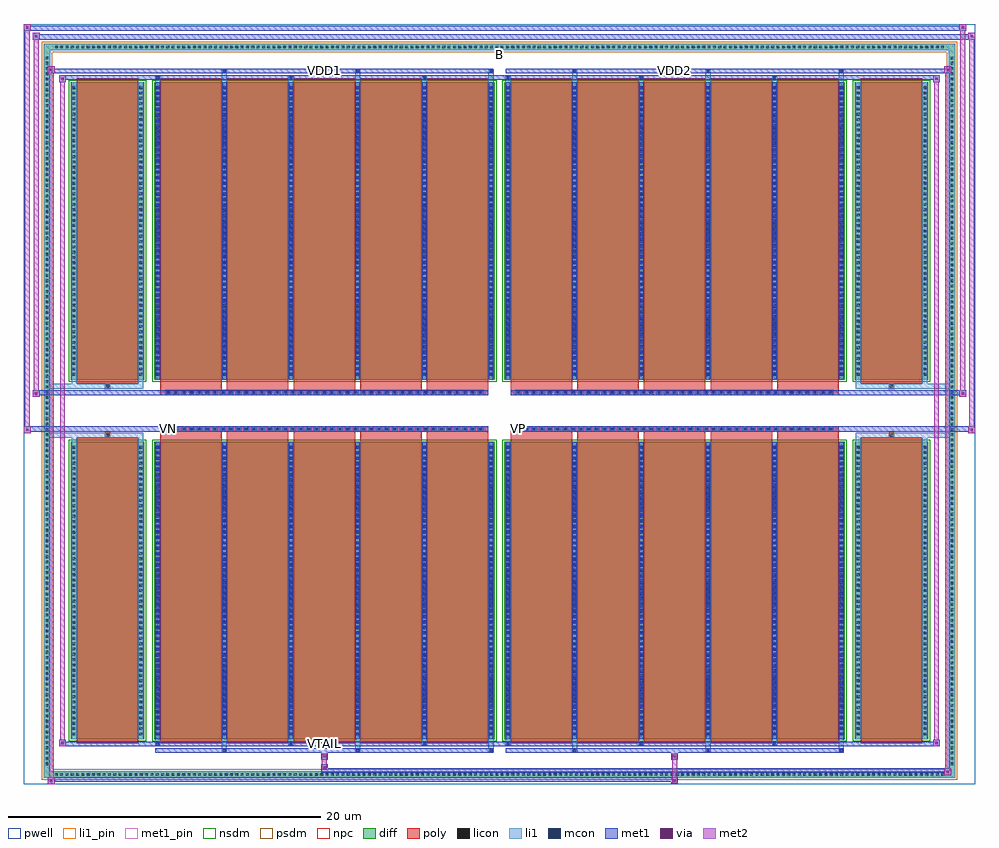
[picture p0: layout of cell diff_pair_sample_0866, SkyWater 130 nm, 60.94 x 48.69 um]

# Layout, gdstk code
import gdstk
lib = gdstk.Library(unit=1e-6, precision=5e-09)
def R(c, l, rs):  # rectangles x0, y0, x1, y1
    for r in rs: c.add(gdstk.rectangle(r[:2], r[2:], *l))
def A(c, l, x, y, w, h, nx, ny, dx, dy):  # array of equal rectangles
    R(c, l, [(x+i*dx, y+j*dy, x+i*dx+w, y+j*dy+h) for i in range(nx) for j in range(ny)])
def P(c, l, *ps):  # polygons
    for p in ps: c.add(gdstk.Polygon(p, *l))
pwell = (64, 44)
diff = (65, 20)
poly = (66, 20)
licon = (66, 44)
li1_pin = (67, 16)
li1 = (67, 20)
mcon = (67, 44)
met1_pin = (68, 16)
met1 = (68, 20)
via = (68, 44)
met2 = (69, 20)
nsdm = (93, 44)
psdm = (94, 20)
npc = (95, 20)

diff_pair_sample_0866 = lib.new_cell('diff_pair_sample_0866')
R(diff_pair_sample_0866, pwell, [(-30.47,-23.91,30.47,24.78), (-27.79,-22.1,-0.01,-0.8), (0.01,-22.1,27.79,-0.8), (-27.79,0.8,-0.01,22.1), (0.01,0.8,27.79,22.1)])
A(diff_pair_sample_0866, diff, -28.595, -23.51, 0.41, 0.41, 168, 2, 0.34, 46.61)
A(diff_pair_sample_0866, diff, -29.2, -22.815, 0.41, 0.41, 1, 134, 0, 0.34)
A(diff_pair_sample_0866, diff, 28.79, -22.815, 0.41, 0.41, 1, 134, 0, 0.34)
R(diff_pair_sample_0866, diff, [(-28.595,-23.51,28.595,-23.1), (-29.2,-22.815,-28.79,22.815), (28.79,-22.815,29.2,22.815), (-27.48,-21.055,-22.76,-1.985), (-22.12,-21.055,-0.32,-1.985), (0.32,-21.055,22.12,-1.985), (22.76,-21.055,27.48,-1.985), (-27.48,1.985,-22.76,21.055), (-22.12,1.985,-0.32,21.055), (0.32,1.985,22.12,21.055), (22.76,1.985,27.48,21.055), (-28.595,23.1,28.595,23.51)])
P(diff_pair_sample_0866, diff, [(29.2,23.51),(-29.2,23.51),(-29.2,-23.1),(-28.79,-23.1),(-28.79,23.1),(28.79,23.1),(28.79,-23.1),(-28.79,-23.1),(-29.2,-23.1),(-29.2,-23.51),(29.2,-23.51)])
A(diff_pair_sample_0866, poly, -21.73, -21.305, 3.94, 19.57, 5, 2, 4.27, 23.04)
A(diff_pair_sample_0866, poly, 0.71, -21.305, 3.94, 19.57, 5, 2, 4.27, 23.04)
A(diff_pair_sample_0866, poly, -21.73, -1.735, 3.94, 0.405, 5, 2, 4.27, 3.065)
A(diff_pair_sample_0866, poly, 0.71, -1.735, 3.94, 0.405, 5, 2, 4.27, 3.065)
A(diff_pair_sample_0866, poly, -21.385, -1.33, 0.33, 0.33, 41, 2, 0.5, 2.33)
A(diff_pair_sample_0866, poly, 1.055, -1.33, 0.33, 0.33, 41, 2, 0.5, 2.33)
R(diff_pair_sample_0866, poly, [(-27.09,-21.305,-23.15,-1.735), (23.15,-21.305,27.09,-1.735), (-25.285,-1.735,-24.955,-1.405), (-25.285,-1.735,-24.955,-1.405), (24.955,-1.735,25.285,-1.405), (24.955,-1.735,25.285,-1.405), (-21.73,-1.33,-0.71,-1), (0.71,-1.33,21.73,-1), (-21.73,1,-0.71,1.33), (0.71,1,21.73,1.33), (-25.285,1.405,-24.955,1.735), (-25.285,1.405,-24.955,1.735), (24.955,1.405,25.285,1.735), (24.955,1.405,25.285,1.735), (-27.09,1.735,-23.15,21.305), (23.15,1.735,27.09,21.305)])
A(diff_pair_sample_0866, licon, -28.475, -23.39, 0.17, 0.17, 168, 2, 0.34, 46.61)
A(diff_pair_sample_0866, licon, -29.08, -22.695, 0.17, 0.17, 1, 134, 0, 0.34)
A(diff_pair_sample_0866, licon, 28.91, -22.695, 0.17, 0.17, 1, 134, 0, 0.34)
A(diff_pair_sample_0866, licon, -27.34, -20.785, 0.17, 0.17, 1, 55, 0, 0.34)
A(diff_pair_sample_0866, licon, -23.07, -20.785, 0.17, 0.17, 1, 55, 0, 0.34)
A(diff_pair_sample_0866, licon, -21.98, -20.785, 0.17, 0.17, 6, 55, 4.27, 0.34)
A(diff_pair_sample_0866, licon, 0.46, -20.785, 0.17, 0.17, 6, 55, 4.27, 0.34)
A(diff_pair_sample_0866, licon, 22.9, -20.785, 0.17, 0.17, 1, 55, 0, 0.34)
A(diff_pair_sample_0866, licon, 27.17, -20.785, 0.17, 0.17, 1, 55, 0, 0.34)
A(diff_pair_sample_0866, licon, -21.305, -1.25, 0.17, 0.17, 41, 2, 0.5, 2.33)
A(diff_pair_sample_0866, licon, 1.135, -1.25, 0.17, 0.17, 41, 2, 0.5, 2.33)
A(diff_pair_sample_0866, licon, -27.34, 2.255, 0.17, 0.17, 1, 55, 0, 0.34)
A(diff_pair_sample_0866, licon, -23.07, 2.255, 0.17, 0.17, 1, 55, 0, 0.34)
A(diff_pair_sample_0866, licon, -21.98, 2.255, 0.17, 0.17, 6, 55, 4.27, 0.34)
A(diff_pair_sample_0866, licon, 0.46, 2.255, 0.17, 0.17, 6, 55, 4.27, 0.34)
A(diff_pair_sample_0866, licon, 22.9, 2.255, 0.17, 0.17, 1, 55, 0, 0.34)
A(diff_pair_sample_0866, licon, 27.17, 2.255, 0.17, 0.17, 1, 55, 0, 0.34)
R(diff_pair_sample_0866, licon, [(-25.205,-1.655,-25.035,-1.485), (25.035,-1.655,25.205,-1.485), (-25.205,1.485,-25.035,1.655), (25.035,1.485,25.205,1.655)])
R(diff_pair_sample_0866, li1_pin, [(-0.25,22.6,0.25,23.1)])
A(diff_pair_sample_0866, li1, -28.555, -23.47, 0.33, 0.33, 168, 2, 0.34, 46.61)
A(diff_pair_sample_0866, li1, -29.16, -22.775, 0.33, 0.33, 1, 134, 0, 0.34)
A(diff_pair_sample_0866, li1, 28.83, -22.775, 0.33, 0.33, 1, 134, 0, 0.34)
A(diff_pair_sample_0866, li1, -17.79, -21.86, 0.33, 0.805, 3, 2, 8.54, 42.915)
A(diff_pair_sample_0866, li1, -17.71, -21.86, 0.17, 0.17, 3, 2, 8.54, 43.55)
A(diff_pair_sample_0866, li1, 4.65, -21.86, 0.33, 0.805, 3, 2, 8.54, 42.915)
A(diff_pair_sample_0866, li1, 4.73, -21.86, 0.17, 0.17, 3, 2, 8.54, 43.55)
A(diff_pair_sample_0866, li1, -22.06, -21.43, 0.33, 0.375, 3, 2, 8.54, 42.485)
A(diff_pair_sample_0866, li1, -21.98, -21.43, 0.17, 0.17, 3, 2, 8.54, 42.69)
A(diff_pair_sample_0866, li1, 0.38, -21.43, 0.33, 0.375, 3, 2, 8.54, 42.485)
A(diff_pair_sample_0866, li1, 0.46, -21.43, 0.17, 0.17, 3, 2, 8.54, 42.69)
A(diff_pair_sample_0866, li1, -22.06, -21.055, 0.33, 19.07, 6, 2, 4.27, 23.04)
A(diff_pair_sample_0866, li1, 0.38, -21.055, 0.33, 19.07, 6, 2, 4.27, 23.04)
A(diff_pair_sample_0866, li1, -27.42, -20.865, 0.33, 0.33, 1, 55, 0, 0.34)
A(diff_pair_sample_0866, li1, -23.15, -20.865, 0.33, 0.33, 1, 55, 0, 0.34)
A(diff_pair_sample_0866, li1, -22.06, -20.865, 0.33, 0.33, 6, 55, 4.27, 0.34)
A(diff_pair_sample_0866, li1, 0.38, -20.865, 0.33, 0.33, 6, 55, 4.27, 0.34)
A(diff_pair_sample_0866, li1, 22.82, -20.865, 0.33, 0.33, 1, 55, 0, 0.34)
A(diff_pair_sample_0866, li1, 27.09, -20.865, 0.33, 0.33, 1, 55, 0, 0.34)
A(diff_pair_sample_0866, li1, -21.98, -20.785, 0.17, 0.17, 6, 52, 4.27, 0.36)
A(diff_pair_sample_0866, li1, -21.98, -20.785, 0.17, 18.53, 6, 2, 4.27, 23.04)
A(diff_pair_sample_0866, li1, 0.46, -20.785, 0.17, 0.17, 6, 52, 4.27, 0.36)
A(diff_pair_sample_0866, li1, 0.46, -20.785, 0.17, 18.53, 6, 2, 4.27, 23.04)
A(diff_pair_sample_0866, li1, -21.385, -1.33, 0.33, 0.33, 41, 2, 0.5, 2.33)
A(diff_pair_sample_0866, li1, 1.055, -1.33, 0.33, 0.33, 41, 2, 0.5, 2.33)
A(diff_pair_sample_0866, li1, -27.42, 2.175, 0.33, 0.33, 1, 55, 0, 0.34)
A(diff_pair_sample_0866, li1, -23.15, 2.175, 0.33, 0.33, 1, 55, 0, 0.34)
A(diff_pair_sample_0866, li1, -22.06, 2.175, 0.33, 0.33, 6, 55, 4.27, 0.34)
A(diff_pair_sample_0866, li1, 0.38, 2.175, 0.33, 0.33, 6, 55, 4.27, 0.34)
A(diff_pair_sample_0866, li1, 22.82, 2.175, 0.33, 0.33, 1, 55, 0, 0.34)
A(diff_pair_sample_0866, li1, 27.09, 2.175, 0.33, 0.33, 1, 55, 0, 0.34)
A(diff_pair_sample_0866, li1, -21.98, 2.255, 0.17, 0.17, 6, 52, 4.27, 0.36)
A(diff_pair_sample_0866, li1, 0.46, 2.255, 0.17, 0.17, 6, 52, 4.27, 0.36)
R(diff_pair_sample_0866, li1, [(-29.2,-23.51,-28.79,-23.1), (-29.2,-23.51,-28.79,-23.1), (-28.79,-23.51,28.79,-23.1), (28.79,-23.51,29.2,-23.1), (28.79,-23.51,29.2,-23.1), (-29.2,-23.1,-28.79,23.1), (28.79,-23.1,29.2,23.1), (-27.42,-21.055,-27.09,-1.985), (-23.15,-21.055,-22.82,-1.985), (22.82,-21.055,23.15,-1.985), (27.09,-21.055,27.42,-1.985), (-27.42,-1.985,-27.09,-1.405), (-23.15,-1.985,-22.82,-1.405), (22.82,-1.985,23.15,-1.405), (27.09,-1.985,27.42,-1.405), (-29.2,-1.735,-25.285,-1.405), (-27.42,-1.735,-25.285,-1.405), (-25.285,-1.735,-24.955,-1.405), (-24.955,-1.735,-22.82,-1.405), (22.82,-1.735,24.955,-1.405), (24.955,-1.735,25.285,-1.405), (24.955,-1.735,29.2,-1.405), (25.285,-1.735,27.42,-1.405), (-29.2,1.405,-25.285,1.735), (-27.42,1.405,-25.285,1.735), (-27.42,1.405,-27.09,1.985), (-25.285,1.405,-24.955,1.735), (-24.955,1.405,-22.82,1.735), (-23.15,1.405,-22.82,1.985), (22.82,1.405,24.955,1.735), (22.82,1.405,23.15,1.985), (24.955,1.405,25.285,1.735), (24.955,1.405,29.2,1.735), (25.285,1.405,27.42,1.735), (27.09,1.405,27.42,1.985), (-27.42,1.985,-27.09,21.055), (-23.15,1.985,-22.82,21.055), (22.82,1.985,23.15,21.055), (27.09,1.985,27.42,21.055), (-29.2,23.1,-28.79,23.51), (-29.2,23.1,-28.79,23.51), (-28.79,23.1,28.79,23.51), (28.79,23.1,29.2,23.51), (28.79,23.1,29.2,23.51)])
A(diff_pair_sample_0866, mcon, -17.71, -21.86, 0.17, 0.17, 3, 2, 8.54, 43.55)
A(diff_pair_sample_0866, mcon, 4.73, -21.86, 0.17, 0.17, 3, 2, 8.54, 43.55)
A(diff_pair_sample_0866, mcon, -21.98, -21.43, 0.17, 0.17, 3, 2, 8.54, 42.69)
A(diff_pair_sample_0866, mcon, 0.46, -21.43, 0.17, 0.17, 3, 2, 8.54, 42.69)
A(diff_pair_sample_0866, mcon, -21.98, -20.785, 0.17, 0.17, 6, 52, 4.27, 0.36)
A(diff_pair_sample_0866, mcon, 0.46, -20.785, 0.17, 0.17, 6, 52, 4.27, 0.36)
A(diff_pair_sample_0866, mcon, -21.305, -1.25, 0.17, 0.17, 41, 2, 0.5, 2.33)
A(diff_pair_sample_0866, mcon, 1.135, -1.25, 0.17, 0.17, 41, 2, 0.5, 2.33)
A(diff_pair_sample_0866, mcon, -21.98, 2.255, 0.17, 0.17, 6, 52, 4.27, 0.36)
A(diff_pair_sample_0866, mcon, 0.46, 2.255, 0.17, 0.17, 6, 52, 4.27, 0.36)
R(diff_pair_sample_0866, met1_pin, [(-11.355,-21.47,-11.085,-21.2), (-21.355,-1.29,-21.085,-1.02), (1.085,-1.29,1.355,-1.02), (-11.355,21.65,-11.085,21.92), (11.085,21.65,11.355,21.92)])
A(diff_pair_sample_0866, met1, -17.77, -21.92, 0.29, 0.29, 3, 2, 8.54, 43.55)
A(diff_pair_sample_0866, met1, 4.67, -21.92, 0.29, 0.29, 3, 2, 8.54, 43.55)
A(diff_pair_sample_0866, met1, -22.04, -21.49, 0.29, 0.29, 3, 2, 8.54, 42.69)
A(diff_pair_sample_0866, met1, 0.4, -21.49, 0.29, 0.29, 3, 2, 8.54, 42.69)
A(diff_pair_sample_0866, met1, -22.04, -21.055, 0.29, 19.07, 6, 2, 4.27, 23.04)
A(diff_pair_sample_0866, met1, 0.4, -21.055, 0.29, 19.07, 6, 2, 4.27, 23.04)
A(diff_pair_sample_0866, met1, -22.04, -20.845, 0.29, 0.29, 6, 52, 4.27, 0.36)
A(diff_pair_sample_0866, met1, 0.4, -20.845, 0.29, 0.29, 6, 52, 4.27, 0.36)
A(diff_pair_sample_0866, met1, -21.365, -1.31, 0.29, 0.29, 41, 2, 0.5, 2.33)
A(diff_pair_sample_0866, met1, 1.075, -1.31, 0.29, 0.29, 41, 2, 0.5, 2.33)
A(diff_pair_sample_0866, met1, -22.04, 2.195, 0.29, 0.29, 6, 52, 4.27, 0.36)
A(diff_pair_sample_0866, met1, 0.4, 2.195, 0.29, 0.29, 6, 52, 4.27, 0.36)
R(diff_pair_sample_0866, met1, [(-28.93,-23.91,-28.5,-23.48), (11.005,-23.91,11.435,-23.48), (-28.93,-23.77,11.435,-23.48), (28.5,-23.34,28.93,-22.91), (-11.435,-23.2,28.93,-22.91), (-11.435,-23.06,-11.005,-22.63), (-11.435,-22.35,-11.005,-21.92), (11.005,-22.35,11.435,-21.92), (-22.04,-21.92,-0.4,-21.63), (0.4,-21.92,22.04,-21.63), (-28.22,-21.49,-27.79,-21.06), (-28.22,-21.49,-22.04,-21.2), (-22.04,-21.49,-0.4,-21.2), (-0.4,-21.49,0.4,-21.2), (0.4,-21.49,22.04,-21.2), (22.04,-21.49,28.22,-21.2), (27.79,-21.49,28.22,-21.06), (-30.47,-1.43,-30.04,-1), (30.04,-1.43,30.47,-1), (-30.47,-1.33,-0.71,-1), (-21.73,-1.33,-0.71,-1), (0.71,-1.33,21.73,-1), (0.71,-1.33,30.47,-1), (-29.9,0.9,-29.47,1.33), (29.47,0.9,29.9,1.33), (-29.9,1,-21.73,1.33), (-21.73,1,-0.71,1.33), (0.71,1,21.73,1.33), (21.73,1,29.9,1.33), (-28.22,21.06,-27.79,21.49), (27.79,21.06,28.22,21.49), (-28.22,21.2,-22.04,21.49), (-22.04,21.2,-0.4,21.49), (-0.4,21.2,0.4,21.49), (0.4,21.2,22.04,21.49), (22.04,21.2,28.22,21.49), (-28.93,21.63,-28.5,22.06), (-28.93,21.63,-22.04,21.92), (-22.04,21.63,-0.4,21.92), (0.4,21.63,22.04,21.92), (22.04,21.63,28.93,21.92), (28.5,21.63,28.93,22.06), (-29.9,23.78,-29.47,24.21), (-29.9,23.78,-27.79,24.11), (-27.79,23.78,27.79,24.11), (27.79,23.78,30.47,24.11), (30.04,23.78,30.47,24.21), (-30.47,24.35,-30.04,24.78), (-30.47,24.35,-27.79,24.68), (-27.79,24.35,27.79,24.68), (27.79,24.35,29.9,24.68), (29.47,24.35,29.9,24.78)])
R(diff_pair_sample_0866, via, [(-28.79,-23.77,-28.64,-23.62), (11.145,-23.77,11.295,-23.62), (28.64,-23.2,28.79,-23.05), (-11.295,-22.92,-11.145,-22.77), (-11.295,-22.21,-11.145,-22.06), (11.145,-22.21,11.295,-22.06), (-28.08,-21.35,-27.93,-21.2), (27.93,-21.35,28.08,-21.2), (-30.33,-1.29,-30.18,-1.14), (30.18,-1.29,30.33,-1.14), (-29.76,1.04,-29.61,1.19), (29.61,1.04,29.76,1.19), (-28.08,21.2,-27.93,21.35), (27.93,21.2,28.08,21.35), (-28.79,21.77,-28.64,21.92), (28.64,21.77,28.79,21.92), (-29.76,23.92,-29.61,24.07), (30.18,23.92,30.33,24.07), (-30.33,24.49,-30.18,24.64), (29.61,24.49,29.76,24.64)])
R(diff_pair_sample_0866, met2, [(-28.93,-23.91,-28.5,-23.48), (-28.86,-23.91,-28.57,22.06), (-28.57,-23.91,-28.5,-23.48), (-28.88,-23.86,-28.55,-23.53), (11.055,-23.86,11.385,-23.53), (11.055,-23.53,11.385,-22.3), (28.5,-23.34,28.93,-22.91), (28.57,-23.34,28.86,22.06), (28.86,-23.34,28.93,-22.91), (28.55,-23.29,28.88,-22.96), (-11.385,-23.01,-11.055,-22.68), (-11.385,-22.68,-11.055,-22.3), (-11.385,-22.3,-11.055,-21.97), (11.055,-22.3,11.385,-21.97), (-28.22,-21.49,-27.79,-21.06), (-28.15,-21.49,-27.86,21.49), (-27.86,-21.49,-27.79,-21.06), (27.79,-21.49,28.22,-21.06), (27.86,-21.49,28.15,21.49), (28.15,-21.49,28.22,-21.06), (-28.17,-21.44,-27.84,-21.11), (27.84,-21.44,28.17,-21.11), (-30.47,-1.43,-30.04,-1), (-30.42,-1.43,-30.09,24.78), (-30.09,-1.43,-30.04,-1), (30.04,-1.43,30.47,-1), (30.09,-1.43,30.42,24.21), (30.42,-1.43,30.47,-1), (-30.42,-1.38,-30.09,-1.05), (30.09,-1.38,30.42,-1.05), (-29.9,0.9,-29.47,1.33), (-29.85,0.9,-29.52,24.21), (-29.52,0.9,-29.47,1.33), (29.47,0.9,29.9,1.33), (29.52,0.9,29.85,24.78), (29.85,0.9,29.9,1.33), (-29.85,0.95,-29.52,1.28), (29.52,0.95,29.85,1.28), (-28.22,21.06,-27.79,21.49), (-27.86,21.06,-27.79,21.49), (27.79,21.06,28.22,21.49), (28.15,21.06,28.22,21.49), (-28.17,21.11,-27.84,21.44), (27.84,21.11,28.17,21.44), (-28.93,21.63,-28.5,22.06), (-28.57,21.63,-28.5,22.06), (28.5,21.63,28.93,22.06), (28.86,21.63,28.93,22.06), (-28.88,21.68,-28.55,22.01), (28.55,21.68,28.88,22.01), (-29.9,23.78,-29.47,24.21), (-29.52,23.78,-29.47,24.21), (30.04,23.78,30.47,24.21), (30.42,23.78,30.47,24.21), (-29.85,23.83,-29.52,24.16), (30.09,23.83,30.42,24.16), (-30.47,24.35,-30.04,24.78), (-30.09,24.35,-30.04,24.78), (29.47,24.35,29.9,24.78), (29.85,24.35,29.9,24.78), (-30.42,24.4,-30.09,24.73), (29.52,24.4,29.85,24.73)])
R(diff_pair_sample_0866, nsdm, [(-27.61,-21.185,-22.63,-1.855), (-22.25,-21.185,-0.19,-1.855), (0.19,-21.185,22.25,-1.855), (22.63,-21.185,27.61,-1.855), (-27.61,1.855,-22.63,21.185), (-22.25,1.855,-0.19,21.185), (0.19,1.855,22.25,21.185), (22.63,1.855,27.61,21.185)])
P(diff_pair_sample_0866, psdm, [(29.33,23.64),(-29.33,23.64),(-29.33,-22.97),(-28.66,-22.97),(-28.66,22.97),(28.66,22.97),(28.66,-22.97),(-28.66,-22.97),(-29.33,-22.97),(-29.33,-23.64),(29.33,-23.64)])
A(diff_pair_sample_0866, npc, -21.405, -1.35, 0.37, 0.37, 41, 2, 0.5, 2.33)
A(diff_pair_sample_0866, npc, 1.035, -1.35, 0.37, 0.37, 41, 2, 0.5, 2.33)
R(diff_pair_sample_0866, npc, [(-25.305,-1.755,-24.935,-1.385), (24.935,-1.755,25.305,-1.385), (-21.405,-1.35,-20.535,-0.98), (-21.405,-1.35,-20.535,-0.98), (-20.905,-1.35,-20.035,-0.98), (-20.905,-1.35,-20.035,-0.98), (-20.405,-1.35,-19.535,-0.98), (-20.405,-1.35,-19.535,-0.98), (-19.905,-1.35,-19.035,-0.98), (-19.905,-1.35,-19.035,-0.98), (-19.405,-1.35,-18.535,-0.98), (-19.405,-1.35,-18.535,-0.98), (-18.905,-1.35,-18.035,-0.98), (-18.905,-1.35,-18.035,-0.98), (-18.405,-1.35,-17.535,-0.98), (-18.405,-1.35,-17.535,-0.98), (-17.905,-1.35,-17.035,-0.98), (-17.905,-1.35,-17.035,-0.98), (-17.405,-1.35,-16.535,-0.98), (-17.405,-1.35,-16.535,-0.98), (-16.905,-1.35,-16.035,-0.98), (-16.905,-1.35,-16.035,-0.98), (-16.405,-1.35,-15.535,-0.98), (-16.405,-1.35,-15.535,-0.98), (-15.905,-1.35,-15.035,-0.98), (-15.905,-1.35,-15.035,-0.98), (-15.405,-1.35,-14.535,-0.98), (-15.405,-1.35,-14.535,-0.98), (-14.905,-1.35,-14.035,-0.98), (-14.905,-1.35,-14.035,-0.98), (-14.405,-1.35,-13.535,-0.98), (-14.405,-1.35,-13.535,-0.98), (-13.905,-1.35,-13.035,-0.98), (-13.905,-1.35,-13.035,-0.98), (-13.405,-1.35,-12.535,-0.98), (-13.405,-1.35,-12.535,-0.98), (-12.905,-1.35,-12.035,-0.98), (-12.905,-1.35,-12.035,-0.98), (-12.405,-1.35,-11.535,-0.98), (-12.405,-1.35,-11.535,-0.98), (-11.905,-1.35,-11.035,-0.98), (-11.905,-1.35,-11.035,-0.98), (-11.405,-1.35,-10.535,-0.98), (-11.405,-1.35,-10.535,-0.98), (-10.905,-1.35,-10.035,-0.98), (-10.905,-1.35,-10.035,-0.98), (-10.405,-1.35,-9.535,-0.98), (-10.405,-1.35,-9.535,-0.98), (-9.905,-1.35,-9.035,-0.98), (-9.905,-1.35,-9.035,-0.98), (-9.405,-1.35,-8.535,-0.98), (-9.405,-1.35,-8.535,-0.98), (-8.905,-1.35,-8.035,-0.98), (-8.905,-1.35,-8.035,-0.98), (-8.405,-1.35,-7.535,-0.98), (-8.405,-1.35,-7.535,-0.98), (-7.905,-1.35,-7.035,-0.98), (-7.905,-1.35,-7.035,-0.98), (-7.405,-1.35,-6.535,-0.98), (-7.405,-1.35,-6.535,-0.98), (-6.905,-1.35,-6.035,-0.98), (-6.905,-1.35,-6.035,-0.98), (-6.405,-1.35,-5.535,-0.98), (-6.405,-1.35,-5.535,-0.98), (-5.905,-1.35,-5.035,-0.98), (-5.905,-1.35,-5.035,-0.98), (-5.405,-1.35,-4.535,-0.98), (-5.405,-1.35,-4.535,-0.98), (-4.905,-1.35,-4.035,-0.98), (-4.905,-1.35,-4.035,-0.98), (-4.405,-1.35,-3.535,-0.98), (-4.405,-1.35,-3.535,-0.98), (-3.905,-1.35,-3.035,-0.98), (-3.905,-1.35,-3.035,-0.98), (-3.405,-1.35,-2.535,-0.98), (-3.405,-1.35,-2.535,-0.98), (-2.905,-1.35,-2.035,-0.98), (-2.905,-1.35,-2.035,-0.98), (-2.405,-1.35,-1.535,-0.98), (-2.405,-1.35,-1.535,-0.98), (-1.905,-1.35,-1.035,-0.98), (-1.905,-1.35,-1.035,-0.98), (1.035,-1.35,1.905,-0.98), (1.035,-1.35,1.905,-0.98), (1.535,-1.35,2.405,-0.98), (1.535,-1.35,2.405,-0.98), (2.035,-1.35,2.905,-0.98), (2.035,-1.35,2.905,-0.98), (2.535,-1.35,3.405,-0.98), (2.535,-1.35,3.405,-0.98), (3.035,-1.35,3.905,-0.98), (3.035,-1.35,3.905,-0.98), (3.535,-1.35,4.405,-0.98), (3.535,-1.35,4.405,-0.98), (4.035,-1.35,4.905,-0.98), (4.035,-1.35,4.905,-0.98), (4.535,-1.35,5.405,-0.98), (4.535,-1.35,5.405,-0.98), (5.035,-1.35,5.905,-0.98), (5.035,-1.35,5.905,-0.98), (5.535,-1.35,6.405,-0.98), (5.535,-1.35,6.405,-0.98), (6.035,-1.35,6.905,-0.98), (6.035,-1.35,6.905,-0.98), (6.535,-1.35,7.405,-0.98), (6.535,-1.35,7.405,-0.98), (7.035,-1.35,7.905,-0.98), (7.035,-1.35,7.905,-0.98), (7.535,-1.35,8.405,-0.98), (7.535,-1.35,8.405,-0.98), (8.035,-1.35,8.905,-0.98), (8.035,-1.35,8.905,-0.98), (8.535,-1.35,9.405,-0.98), (8.535,-1.35,9.405,-0.98), (9.035,-1.35,9.905,-0.98), (9.035,-1.35,9.905,-0.98), (9.535,-1.35,10.405,-0.98), (9.535,-1.35,10.405,-0.98), (10.035,-1.35,10.905,-0.98), (10.035,-1.35,10.905,-0.98), (10.535,-1.35,11.405,-0.98), (10.535,-1.35,11.405,-0.98), (11.035,-1.35,11.905,-0.98), (11.035,-1.35,11.905,-0.98), (11.535,-1.35,12.405,-0.98), (11.535,-1.35,12.405,-0.98), (12.035,-1.35,12.905,-0.98), (12.035,-1.35,12.905,-0.98), (12.535,-1.35,13.405,-0.98), (12.535,-1.35,13.405,-0.98), (13.035,-1.35,13.905,-0.98), (13.035,-1.35,13.905,-0.98), (13.535,-1.35,14.405,-0.98), (13.535,-1.35,14.405,-0.98), (14.035,-1.35,14.905,-0.98), (14.035,-1.35,14.905,-0.98), (14.535,-1.35,15.405,-0.98), (14.535,-1.35,15.405,-0.98), (15.035,-1.35,15.905,-0.98), (15.035,-1.35,15.905,-0.98), (15.535,-1.35,16.405,-0.98), (15.535,-1.35,16.405,-0.98), (16.035,-1.35,16.905,-0.98), (16.035,-1.35,16.905,-0.98), (16.535,-1.35,17.405,-0.98), (16.535,-1.35,17.405,-0.98), (17.035,-1.35,17.905,-0.98), (17.035,-1.35,17.905,-0.98), (17.535,-1.35,18.405,-0.98), (17.535,-1.35,18.405,-0.98), (18.035,-1.35,18.905,-0.98), (18.035,-1.35,18.905,-0.98), (18.535,-1.35,19.405,-0.98), (18.535,-1.35,19.405,-0.98), (19.035,-1.35,19.905,-0.98), (19.035,-1.35,19.905,-0.98), (19.535,-1.35,20.405,-0.98), (19.535,-1.35,20.405,-0.98), (20.035,-1.35,20.905,-0.98), (20.035,-1.35,20.905,-0.98), (20.535,-1.35,21.405,-0.98), (20.535,-1.35,21.405,-0.98), (-21.405,0.98,-20.535,1.35), (-21.405,0.98,-20.535,1.35), (-20.905,0.98,-20.035,1.35), (-20.905,0.98,-20.035,1.35), (-20.405,0.98,-19.535,1.35), (-20.405,0.98,-19.535,1.35), (-19.905,0.98,-19.035,1.35), (-19.905,0.98,-19.035,1.35), (-19.405,0.98,-18.535,1.35), (-19.405,0.98,-18.535,1.35), (-18.905,0.98,-18.035,1.35), (-18.905,0.98,-18.035,1.35), (-18.405,0.98,-17.535,1.35), (-18.405,0.98,-17.535,1.35), (-17.905,0.98,-17.035,1.35), (-17.905,0.98,-17.035,1.35), (-17.405,0.98,-16.535,1.35), (-17.405,0.98,-16.535,1.35), (-16.905,0.98,-16.035,1.35), (-16.905,0.98,-16.035,1.35), (-16.405,0.98,-15.535,1.35), (-16.405,0.98,-15.535,1.35), (-15.905,0.98,-15.035,1.35), (-15.905,0.98,-15.035,1.35), (-15.405,0.98,-14.535,1.35), (-15.405,0.98,-14.535,1.35), (-14.905,0.98,-14.035,1.35), (-14.905,0.98,-14.035,1.35), (-14.405,0.98,-13.535,1.35), (-14.405,0.98,-13.535,1.35), (-13.905,0.98,-13.035,1.35), (-13.905,0.98,-13.035,1.35), (-13.405,0.98,-12.535,1.35), (-13.405,0.98,-12.535,1.35), (-12.905,0.98,-12.035,1.35), (-12.905,0.98,-12.035,1.35), (-12.405,0.98,-11.535,1.35), (-12.405,0.98,-11.535,1.35), (-11.905,0.98,-11.035,1.35), (-11.905,0.98,-11.035,1.35), (-11.405,0.98,-10.535,1.35), (-11.405,0.98,-10.535,1.35), (-10.905,0.98,-10.035,1.35), (-10.905,0.98,-10.035,1.35), (-10.405,0.98,-9.535,1.35), (-10.405,0.98,-9.535,1.35), (-9.905,0.98,-9.035,1.35), (-9.905,0.98,-9.035,1.35), (-9.405,0.98,-8.535,1.35), (-9.405,0.98,-8.535,1.35), (-8.905,0.98,-8.035,1.35), (-8.905,0.98,-8.035,1.35), (-8.405,0.98,-7.535,1.35), (-8.405,0.98,-7.535,1.35), (-7.905,0.98,-7.035,1.35), (-7.905,0.98,-7.035,1.35), (-7.405,0.98,-6.535,1.35), (-7.405,0.98,-6.535,1.35), (-6.905,0.98,-6.035,1.35), (-6.905,0.98,-6.035,1.35), (-6.405,0.98,-5.535,1.35), (-6.405,0.98,-5.535,1.35), (-5.905,0.98,-5.035,1.35), (-5.905,0.98,-5.035,1.35), (-5.405,0.98,-4.535,1.35), (-5.405,0.98,-4.535,1.35), (-4.905,0.98,-4.035,1.35), (-4.905,0.98,-4.035,1.35), (-4.405,0.98,-3.535,1.35), (-4.405,0.98,-3.535,1.35), (-3.905,0.98,-3.035,1.35), (-3.905,0.98,-3.035,1.35), (-3.405,0.98,-2.535,1.35), (-3.405,0.98,-2.535,1.35), (-2.905,0.98,-2.035,1.35), (-2.905,0.98,-2.035,1.35), (-2.405,0.98,-1.535,1.35), (-2.405,0.98,-1.535,1.35), (-1.905,0.98,-1.035,1.35), (-1.905,0.98,-1.035,1.35), (1.035,0.98,1.905,1.35), (1.035,0.98,1.905,1.35), (1.535,0.98,2.405,1.35), (1.535,0.98,2.405,1.35), (2.035,0.98,2.905,1.35), (2.035,0.98,2.905,1.35), (2.535,0.98,3.405,1.35), (2.535,0.98,3.405,1.35), (3.035,0.98,3.905,1.35), (3.035,0.98,3.905,1.35), (3.535,0.98,4.405,1.35), (3.535,0.98,4.405,1.35), (4.035,0.98,4.905,1.35), (4.035,0.98,4.905,1.35), (4.535,0.98,5.405,1.35), (4.535,0.98,5.405,1.35), (5.035,0.98,5.905,1.35), (5.035,0.98,5.905,1.35), (5.535,0.98,6.405,1.35), (5.535,0.98,6.405,1.35), (6.035,0.98,6.905,1.35), (6.035,0.98,6.905,1.35), (6.535,0.98,7.405,1.35), (6.535,0.98,7.405,1.35), (7.035,0.98,7.905,1.35), (7.035,0.98,7.905,1.35), (7.535,0.98,8.405,1.35), (7.535,0.98,8.405,1.35), (8.035,0.98,8.905,1.35), (8.035,0.98,8.905,1.35), (8.535,0.98,9.405,1.35), (8.535,0.98,9.405,1.35), (9.035,0.98,9.905,1.35), (9.035,0.98,9.905,1.35), (9.535,0.98,10.405,1.35), (9.535,0.98,10.405,1.35), (10.035,0.98,10.905,1.35), (10.035,0.98,10.905,1.35), (10.535,0.98,11.405,1.35), (10.535,0.98,11.405,1.35), (11.035,0.98,11.905,1.35), (11.035,0.98,11.905,1.35), (11.535,0.98,12.405,1.35), (11.535,0.98,12.405,1.35), (12.035,0.98,12.905,1.35), (12.035,0.98,12.905,1.35), (12.535,0.98,13.405,1.35), (12.535,0.98,13.405,1.35), (13.035,0.98,13.905,1.35), (13.035,0.98,13.905,1.35), (13.535,0.98,14.405,1.35), (13.535,0.98,14.405,1.35), (14.035,0.98,14.905,1.35), (14.035,0.98,14.905,1.35), (14.535,0.98,15.405,1.35), (14.535,0.98,15.405,1.35), (15.035,0.98,15.905,1.35), (15.035,0.98,15.905,1.35), (15.535,0.98,16.405,1.35), (15.535,0.98,16.405,1.35), (16.035,0.98,16.905,1.35), (16.035,0.98,16.905,1.35), (16.535,0.98,17.405,1.35), (16.535,0.98,17.405,1.35), (17.035,0.98,17.905,1.35), (17.035,0.98,17.905,1.35), (17.535,0.98,18.405,1.35), (17.535,0.98,18.405,1.35), (18.035,0.98,18.905,1.35), (18.035,0.98,18.905,1.35), (18.535,0.98,19.405,1.35), (18.535,0.98,19.405,1.35), (19.035,0.98,19.905,1.35), (19.035,0.98,19.905,1.35), (19.535,0.98,20.405,1.35), (19.535,0.98,20.405,1.35), (20.035,0.98,20.905,1.35), (20.035,0.98,20.905,1.35), (20.535,0.98,21.405,1.35), (20.535,0.98,21.405,1.35), (-25.305,1.385,-24.935,1.755), (24.935,1.385,25.305,1.755)])
diff_pair_sample_0866.add(gdstk.Label('VTAIL', (-11.22,-21.335), layer=68, texttype=5))
diff_pair_sample_0866.add(gdstk.Label('VN', (-21.22,-1.155), layer=68, texttype=5))
diff_pair_sample_0866.add(gdstk.Label('VP', (1.22,-1.155), layer=68, texttype=5))
diff_pair_sample_0866.add(gdstk.Label('B', (0,22.85), layer=67, texttype=5))
diff_pair_sample_0866.add(gdstk.Label('VDD2', (11.22,21.785), layer=68, texttype=5))
diff_pair_sample_0866.add(gdstk.Label('VDD1', (-11.22,21.785), layer=68, texttype=5))

lib.write_gds('diff_pair_sample_0866.gds')
